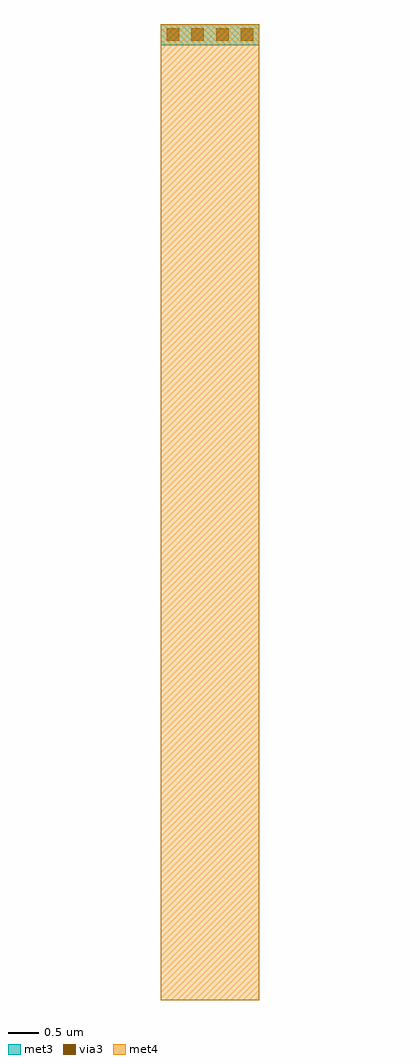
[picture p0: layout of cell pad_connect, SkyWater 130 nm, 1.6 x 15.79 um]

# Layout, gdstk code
import gdstk
lib = gdstk.Library(unit=1e-6, precision=1e-09)
def R(c, l, rs):  # rectangles x0, y0, x1, y1
    for r in rs: c.add(gdstk.rectangle(r[:2], r[2:], *l))
def A(c, l, x, y, w, h, nx, ny, dx, dy):  # array of equal rectangles
    R(c, l, [(x+i*dx, y+j*dy, x+i*dx+w, y+j*dy+h) for i in range(nx) for j in range(ny)])
met3 = (70, 20)
via3 = (70, 44)
met4 = (71, 20)

pad_connect = lib.new_cell('pad_connect')
R(pad_connect, met3, [(0,14.74,1.6,15.08)])
A(pad_connect, via3, 0.1, 14.81, 0.2, 0.2, 4, 1, 0.4, 0)
pad_connect.add(gdstk.FlexPath([(0.8,15.08),(0.8,-0.71)], 1.6, ends="flush", simple_path=True, layer=71, datatype=20))  # met4

lib.write_gds('pad_connect.gds')
